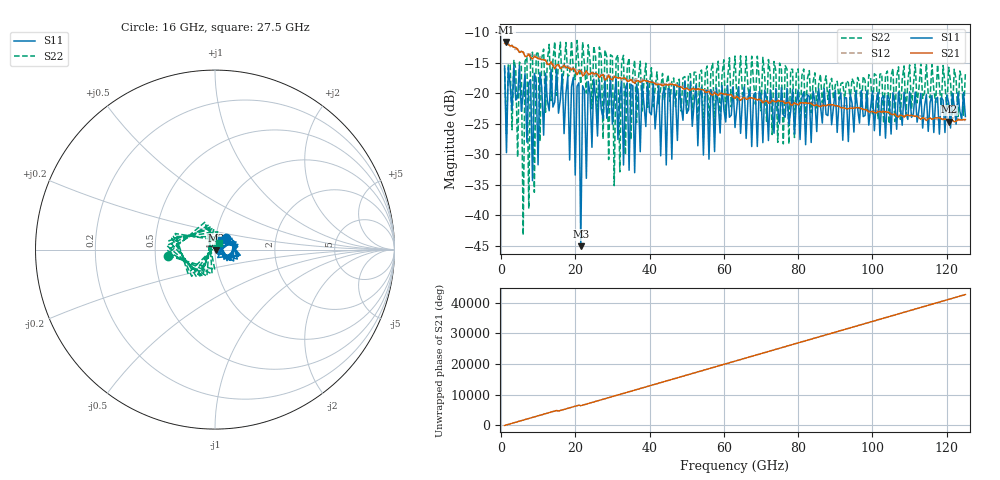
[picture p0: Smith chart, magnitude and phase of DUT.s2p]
! Created with skrf 2.1.0 (http://scikit-rf.org).
# GHz S RI R 50.0
!freq ReS11 ImS11 ReS21 ImS21 ReS12 ImS12 ReS22 ImS22
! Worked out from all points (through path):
!   249 points, 1 GHz to 125 GHz, reference 50 ohm
!   highest |S21| = -11.61 dB at 1.5 GHz (marker M1); lowest = -24.7 dB at 120.5 GHz (marker M2)
!   lowest |S11| = -45.1 dB at 21.5 GHz (marker M3), VSWR 1.01, Z = 50.4 - j0.357 ohm
!   |S11| at or under -10 dB: start of sweep to end of sweep
!   |S22| runs from -43.3 to -11.4 dB; largest |S21 - S12| = 0.019
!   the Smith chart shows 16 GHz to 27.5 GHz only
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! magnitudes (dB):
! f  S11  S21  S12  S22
! 1 GHz  -15.5  -11.8  -11.4  -15.9
! 1.5 GHz  -29.7  -11.6  -11.5  -26.6
! 5.5 GHz  -23.0  -13.2  -13.1  -15.6
! 6 GHz  -20.1  -13.2  -13.4  -43.3
! 6.5 GHz  -16.8  -14.0  -13.5  -14.7
! 7.5 GHz  -18.3  -13.6  -13.7  -38.9
! 8 GHz  -17.8  -14.1  -13.6  -13.9
! 9 GHz  -16.7  -14.0  -13.7  -36.2
! 9.5 GHz  -17.9  -14.1  -14.0  -13.7
! 21 GHz  -18.3  -16.4  -16.4  -15.8
! 21.5 GHz  -45.1  -16.3  -16.3  -18.5
! 22 GHz  -18.8  -17.2  -16.7  -11.6
! 30 GHz  -25.1  -17.8  -17.5  -13.9
! 30.5 GHz  -21.1  -17.3  -17.1  -35.1
! 31.5 GHz  -27.6  -17.5  -17.6  -13.7
! 32 GHz  -20.4  -17.4  -17.5  -32.9
! 42.5 GHz  -18.7  -18.5  -18.5  -21.7
! 63 GHz  -25.6  -20.8  -20.5  -13.9
! 84 GHz  -19.7  -22.0  -21.5  -18.2
! 104.5 GHz  -21.0  -23.2  -23.1  -25.0
! 120.5 GHz  -21.5  -24.7  -24.1  -15.7
! 125 GHz  -23.8  -24.3  -24.5  -16.7
